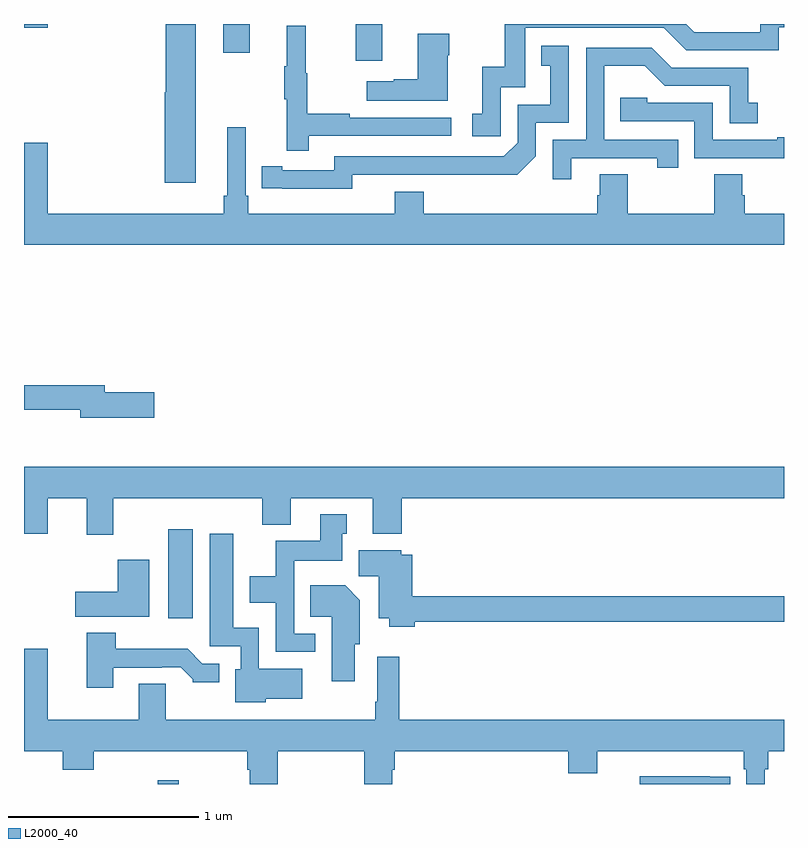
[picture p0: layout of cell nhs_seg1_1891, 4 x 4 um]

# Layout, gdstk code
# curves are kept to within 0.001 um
import gdstk
lib = gdstk.Library(unit=1e-6, precision=1e-09)
def R(c, l, rs):  # rectangles x0, y0, x1, y1
    for r in rs: c.add(gdstk.rectangle(r[:2], r[2:], *l))
def P(c, l, *ps):  # polygons
    for p in ps: c.add(gdstk.Polygon(p, *l))
L2000_40 = (2000, 40)

nhs_seg1_1891 = lib.new_cell('nhs_seg1_1891')
R(nhs_seg1_1891, L2000_40, [(213.705,578.199,213.814,578.218), (213.758,579.072,213.889,579.541), (214.745,582.006,214.885,582.199), (214.049,582.048,214.189,582.199), (213,582.18,213.124,582.199)])
P(nhs_seg1_1891, L2000_40, [(213.904,582.199),(213.746,582.199),(213.746,581.841),(213.74,581.841),(213.74,581.364),(213.904,581.364)],
  [(215.508,581.865),(215.637,581.865),(215.637,582.18),(216.366,582.18),(216.486,582.06),(216.972,582.06),(216.972,582.183),(217,582.183),(217,582.199),(216.875,582.199),(216.875,582.156),(216.528,582.156),(216.485,582.199),(215.529,582.199),(215.529,581.974),(215.411,581.974),(215.411,581.727),(215.358,581.727),(215.358,581.607),(215.508,581.607)],
  [(214.499,581.61),(215.248,581.61),(215.248,581.706),(214.715,581.706),(214.715,581.726),(214.492,581.726),(214.492,581.94),(214.484,581.94),(214.484,582.19),(214.382,582.19),(214.382,581.977),(214.371,581.977),(214.371,581.803),(214.382,581.803),(214.382,581.532),(214.499,581.532)],
  [(215.23,582.035),(215.238,582.035),(215.238,582.148),(215.072,582.148),(215.072,581.909),(214.946,581.909),(214.946,581.899),(214.803,581.899),(214.803,581.795),(215.23,581.795)],
  [(214.728,581.406),(215.596,581.405),(215.694,581.502),(215.694,581.679),(215.868,581.679),(215.868,582.085),(215.722,582.085),(215.722,581.979),(215.771,581.979),(215.771,581.775),(215.598,581.775),(215.598,581.574),(215.526,581.502),(214.632,581.502),(214.632,581.43),(214.36,581.43),(214.36,581.45),(214.252,581.45),(214.252,581.334),(214.728,581.333)],
  [(215.881,581.493),(216.332,581.493),(216.332,581.442),(216.443,581.442),(216.443,581.589),(216.054,581.589),(216.054,581.978),(216.268,581.978),(216.372,581.874),(216.714,581.874),(216.714,581.676),(216.862,581.676),(216.862,581.785),(216.813,581.785),(216.813,581.97),(216.409,581.97),(216.304,582.075),(215.958,582.075),(215.958,581.589),(215.784,581.589),(215.784,581.382),(215.881,581.382)],
  [(217,581.602),(216.965,581.602),(216.965,581.589),(216.624,581.589),(216.624,581.784),(216.279,581.784),(216.279,581.811),(216.139,581.811),(216.139,581.688),(216.528,581.688),(216.528,581.493),(217,581.493)],
  [(217,581.2),(216.794,581.2),(216.794,581.298),(216.781,581.298),(216.781,581.408),(216.634,581.408),(216.634,581.2),(216.177,581.2),(216.177,581.408),(216.029,581.408),(216.029,581.298),(216.017,581.298),(216.017,581.2),(215.105,581.2),(215.105,581.317),(214.952,581.317),(214.952,581.2),(214.181,581.2),(214.181,581.296),(214.167,581.296),(214.167,581.656),(214.07,581.656),(214.07,581.296),(214.051,581.296),(214.051,581.2),(213.124,581.2),(213.124,581.575),(213,581.575),(213,581.036),(217,581.036)],
  [(213.685,580.262),(213.424,580.262),(213.424,580.298),(213,580.298),(213,580.17),(213.296,580.17),(213.296,580.127),(213.685,580.127)],
  [(213.469,579.704),(214.253,579.704),(214.253,579.563),(214.405,579.563),(214.405,579.704),(214.835,579.704),(214.835,579.515),(214.988,579.515),(214.988,579.704),(217,579.704),(217,579.868),(213,579.868),(213,579.516),(213.124,579.516),(213.124,579.704),(213.329,579.704),(213.329,579.51),(213.469,579.51)],
  [(214.534,578.991),(214.422,578.991),(214.422,579.374),(214.675,579.374),(214.675,579.516),(214.699,579.516),(214.699,579.619),(214.559,579.619),(214.559,579.478),(214.324,579.478),(214.324,579.292),(214.187,579.292),(214.187,579.152),(214.326,579.152),(214.326,578.895),(214.534,578.895)],
  [(214.272,578.648),(214.465,578.648),(214.465,578.806),(214.236,578.806),(214.236,579.022),(214.102,579.022),(214.102,579.517),(213.977,579.517),(213.977,578.925),(214.14,578.925),(214.14,578.802),(214.112,578.802),(214.112,578.63),(214.272,578.63)],
  [(215.057,579.052),(217,579.052),(217,579.188),(215.044,579.188),(215.044,579.406),(214.986,579.406),(214.986,579.43),(214.763,579.43),(214.763,579.292),(214.868,579.292),(214.868,579.071),(214.922,579.071),(214.922,579.026),(215.057,579.026)],
  [(213.658,579.379),(213.494,579.379),(213.494,579.21),(213.27,579.21),(213.27,579.08),(213.658,579.08)],
  [(214.741,578.934),(214.768,578.934),(214.768,579.166),(214.69,579.244),(214.507,579.244),(214.507,579.08),(214.619,579.08),(214.619,578.739),(214.741,578.739)],
  [(213.469,578.811),(213.725,578.811),(213.725,578.814),(213.824,578.814),(213.888,578.75),(213.888,578.735),(214.027,578.735),(214.027,578.832),(213.939,578.832),(213.861,578.911),(213.482,578.911),(213.482,578.995),(213.329,578.995),(213.329,578.706),(213.469,578.706)],
  [(214.335,578.372),(214.792,578.372),(214.792,578.199),(214.939,578.199),(214.939,578.274),(214.952,578.274),(214.952,578.372),(215.864,578.372),(215.864,578.255),(216.016,578.255),(216.016,578.372),(216.788,578.372),(216.788,578.276),(216.801,578.276),(216.801,578.199),(216.898,578.199),(216.898,578.276),(216.917,578.276),(216.917,578.372),(217,578.372),(217,578.536),(214.976,578.536),(214.976,578.869),(214.86,578.869),(214.86,578.632),(214.848,578.632),(214.848,578.536),(213.745,578.536),(213.745,578.726),(213.605,578.726),(213.605,578.536),(213.124,578.536),(213.124,578.911),(213,578.911),(213,578.372),(213.203,578.372),(213.203,578.273),(213.368,578.273),(213.368,578.372),(214.175,578.372),(214.175,578.274),(214.187,578.274),(214.187,578.199),(214.335,578.199)],
  [(216.716,578.238),(216.608,578.238),(216.608,578.239),(216.24,578.239),(216.24,578.199),(216.716,578.199)])

lib.write_gds('nhs_seg1_1891.gds')
